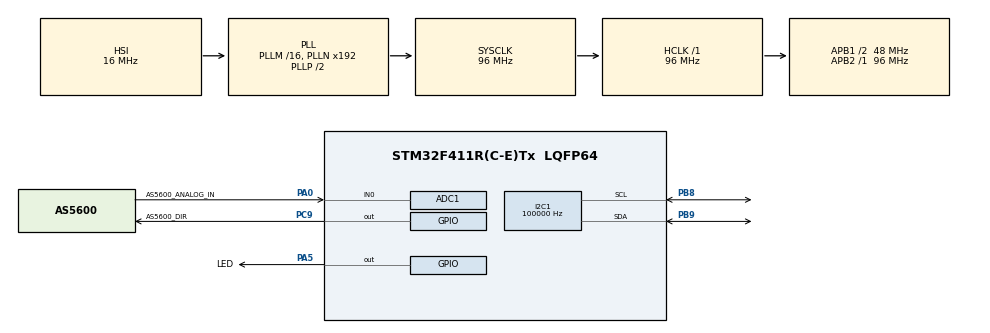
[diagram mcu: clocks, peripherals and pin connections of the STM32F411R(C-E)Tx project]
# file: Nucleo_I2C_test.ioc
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ADC1.Channel-0\#ChannelRegularConversion=ADC_CHANNEL_0
ADC1.ClockPrescaler=ADC_CLOCK_SYNC_PCLK_DIV4
ADC1.ContinuousConvMode=ENABLE
ADC1.DMAContinuousRequests=ENABLE
ADC1.NbrOfConversionFlag=1
ADC1.Rank-0\#ChannelRegularConversion=1
ADC1.SamplingTime-0\#ChannelRegularConversion=ADC_SAMPLETIME_3CYCLES
ADC1.master=1
Dma.ADC1.0.Direction=DMA_PERIPH_TO_MEMORY
Dma.ADC1.0.FIFOMode=DMA_FIFOMODE_ENABLE
Dma.ADC1.0.FIFOThreshold=DMA_FIFO_THRESHOLD_FULL
Dma.ADC1.0.Instance=DMA2_Stream0
Dma.ADC1.0.MemBurst=DMA_MBURST_SINGLE
Dma.ADC1.0.MemDataAlignment=DMA_MDATAALIGN_HALFWORD
Dma.ADC1.0.MemInc=DMA_MINC_ENABLE
Dma.ADC1.0.Mode=DMA_CIRCULAR
Dma.ADC1.0.PeriphBurst=DMA_PBURST_SINGLE
Dma.ADC1.0.PeriphDataAlignment=DMA_PDATAALIGN_HALFWORD
Dma.ADC1.0.PeriphInc=DMA_PINC_DISABLE
Dma.ADC1.0.Priority=DMA_PRIORITY_HIGH
Dma.Request0=ADC1
I2C1.ClockSpeed=100000
I2C1.I2C_Mode=I2C_Standard
I2C1.OwnAddress=0
Mcu.Family=STM32F4
Mcu.Name=STM32F411R(C-E)Tx
Mcu.Package=LQFP64
NVIC.ADC_IRQn=true\:0\:0\:false\:false\:true\:true\:true\:true
NVIC.DMA2_Stream0_IRQn=true\:0\:0\:false\:false\:true\:false\:true\:true
NVIC.I2C1_ER_IRQn=true\:0\:0\:false\:false\:true\:true\:true\:true
NVIC.I2C1_EV_IRQn=true\:0\:0\:false\:false\:true\:true\:true\:true
NVIC.PriorityGroup=NVIC_PRIORITYGROUP_4
PA0-WKUP.GPIO_Label=AS5600_ANALOG_IN
PA0-WKUP.Signal=ADCx_IN0
PA5.GPIO_Label=LED
PA5.Signal=GPIO_Output
PB8.Mode=I2C
PB8.Signal=I2C1_SCL
PB9.Mode=I2C
PB9.Signal=I2C1_SDA
PC9.GPIO_Label=AS5600_DIR
PC9.Signal=GPIO_Output
ProjectManager.HeapSize=0x200
ProjectManager.StackSize=0x400
ProjectManager.TargetToolchain=STM32CubeIDE
RCC.AHBFreq_Value=96000000
RCC.APB1CLKDivider=RCC_HCLK_DIV2
RCC.APB1Freq_Value=48000000
RCC.APB1TimFreq_Value=96000000
RCC.APB2Freq_Value=96000000
RCC.APB2TimFreq_Value=96000000
RCC.CortexFreq_Value=96000000
RCC.HCLKFreq_Value=96000000
RCC.HSE_VALUE=25000000
RCC.HSI_VALUE=16000000
RCC.LSE_VALUE=32768
RCC.SYSCLKFreq_VALUE=96000000
RCC.SYSCLKSource=RCC_SYSCLKSOURCE_PLLCLK
RCC.VCOOutputFreq_Value=192000000
SH.ADCx_IN0.0=ADC1_IN0,IN0
board=custom

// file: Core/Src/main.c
/* USER CODE BEGIN Header */
/**
  ******************************************************************************
  * @file           : main.c
  * @brief          : Main program body
  ******************************************************************************
  * @attention
  *
  * Copyright (c) 2022 STMicroelectronics.
  * All rights reserved.
  *
  * This software is licensed under terms that can be found in the LICENSE file
  * in the root directory of this software component.
  * If no LICENSE file comes with this software, it is provided AS-IS.
  *
  ******************************************************************************
  */
/* USER CODE END Header */
#include "main.h"

/* USER CODE BEGIN PD */
// the size of the array is determined by the time to fill in this case it is filled at 70KHz
#define AS5600_ADC_BUF_SIZE 19
// the delta_t_div_tau variable is a pre-computed value and describes a system where frequencies of +70KHz are filtered out
#define AS5600_EULER_DELTA_T_DIV_TAU 3
/* USER CODE END PD */

ADC_HandleTypeDef hadc1;
DMA_HandleTypeDef hdma_adc1;
I2C_HandleTypeDef hi2c1;

void SystemClock_Config(void);
static void MX_GPIO_Init(void);
static void MX_DMA_Init(void);
static void MX_I2C1_Init(void);
static void MX_ADC1_Init(void);
/* USER CODE BEGIN PFP */
uint16_t euler_integration(double* pos_integrator);	// uses [AS5600_analog_pos] and updates [pos]
/* USER CODE END PFP */

/* USER CODE BEGIN 0 */
uint16_t AS5600_analog_pos[AS5600_ADC_BUF_SIZE];
double AS5600_pos_integrator;
uint16_t AS5600_pos;
/* USER CODE END 0 */

int main(void)
{
  /* USER CODE BEGIN 1 */
	AS5600_TypeDef* sensor = AS5600_new();
	sensor->i2c_handle = &hi2c1;
	sensor->dir_port = AS5600_DIR_GPIO_Port;
	sensor->dir_pin = AS5600_DIR_Pin;
	sensor->positive_rotation_direction = AS5600_DIR_CCW;
  /* USER CODE END 1 */

  /* MCU Configuration--------------------------------------------------------*/

  /* Reset of all peripherals, Initializes the Flash interface and the Systick. */
  HAL_Init();

  /* Configure the system clock */
  SystemClock_Config();

  /* Initialize all configured peripherals */
  MX_GPIO_Init();
  MX_DMA_Init();
  MX_I2C1_Init();
  MX_ADC1_Init();
  /* USER CODE BEGIN 2 */
  while (AS5600_init(sensor) != HAL_OK) {
	  HAL_GPIO_TogglePin(LED_GPIO_Port, LED_Pin);
	  HAL_Delay(50);
  }

  // Get the real angle in the slow way so that the euler-integration can work with it
  AS5600_get_angle(sensor, &AS5600_pos);
  AS5600_pos_integrator = AS5600_pos;
  /* USER CODE END 2 */

  /* Infinite loop */

  /* USER CODE BEGIN WHILE */
	HAL_ADC_Start_DMA(&hadc1, (uint32_t*)AS5600_analog_pos, AS5600_ADC_BUF_SIZE);
	while (1)
	{
		AS5600_pos = euler_integration(&AS5600_pos_integrator);
    /* USER CODE END WHILE */

	}
}

void SystemClock_Config(void)
{
  RCC_OscInitTypeDef RCC_OscInitStruct = {0};
  RCC_ClkInitTypeDef RCC_ClkInitStruct = {0};

  /** Configure the main internal regulator output voltage
  */
  __HAL_RCC_PWR_CLK_ENABLE();
  __HAL_PWR_VOLTAGESCALING_CONFIG(PWR_REGULATOR_VOLTAGE_SCALE1);

  /** Initializes the RCC Oscillators according to the specified parameters
  * in the RCC_OscInitTypeDef structure.
  */
  RCC_OscInitStruct.OscillatorType = RCC_OSCILLATORTYPE_HSI;
  RCC_OscInitStruct.HSIState = RCC_HSI_ON;
  RCC_OscInitStruct.HSICalibrationValue = RCC_HSICALIBRATION_DEFAULT;
  RCC_OscInitStruct.PLL.PLLState = RCC_PLL_ON;
  RCC_OscInitStruct.PLL.PLLSource = RCC_PLLSOURCE_HSI;
  RCC_OscInitStruct.PLL.PLLM = 16;
  RCC_OscInitStruct.PLL.PLLN = 192;
  RCC_OscInitStruct.PLL.PLLP = RCC_PLLP_DIV2;
  RCC_OscInitStruct.PLL.PLLQ = 4;
  if (HAL_RCC_OscConfig(&RCC_OscInitStruct) != HAL_OK)
  {
    Error_Handler();
  }

  /** Initializes the CPU, AHB and APB buses clocks
  */
  RCC_ClkInitStruct.ClockType = RCC_CLOCKTYPE_HCLK|RCC_CLOCKTYPE_SYSCLK
                              |RCC_CLOCKTYPE_PCLK1|RCC_CLOCKTYPE_PCLK2;
  RCC_ClkInitStruct.SYSCLKSource = RCC_SYSCLKSOURCE_PLLCLK;
  RCC_ClkInitStruct.AHBCLKDivider = RCC_SYSCLK_DIV1;
  RCC_ClkInitStruct.APB1CLKDivider = RCC_HCLK_DIV2;
  RCC_ClkInitStruct.APB2CLKDivider = RCC_HCLK_DIV1;

  if (HAL_RCC_ClockConfig(&RCC_ClkInitStruct, FLASH_LATENCY_3) != HAL_OK)
  {
    Error_Handler();
  }
}

static void MX_ADC1_Init(void)
{

  ADC_ChannelConfTypeDef sConfig = {0};

  /** Configure the global features of the ADC (Clock, Resolution, Data Alignment and number of conversion)
  */
  hadc1.Instance = ADC1;
  hadc1.Init.ClockPrescaler = ADC_CLOCK_SYNC_PCLK_DIV6;
  hadc1.Init.Resolution = ADC_RESOLUTION_12B;
  hadc1.Init.ScanConvMode = DISABLE;
  hadc1.Init.ContinuousConvMode = ENABLE;
  hadc1.Init.DiscontinuousConvMode = DISABLE;
  hadc1.Init.ExternalTrigConvEdge = ADC_EXTERNALTRIGCONVEDGE_NONE;
  hadc1.Init.ExternalTrigConv = ADC_SOFTWARE_START;
  hadc1.Init.DataAlign = ADC_DATAALIGN_RIGHT;
  hadc1.Init.NbrOfConversion = 1;
  hadc1.Init.DMAContinuousRequests = ENABLE;
  hadc1.Init.EOCSelection = ADC_EOC_SINGLE_CONV;
  if (HAL_ADC_Init(&hadc1) != HAL_OK)
  {
    Error_Handler();
  }

  /** Configure for the selected ADC regular channel its corresponding rank in the sequencer and its sample time.
  */
  sConfig.Channel = ADC_CHANNEL_0;
  sConfig.Rank = 1;
  sConfig.SamplingTime = ADC_SAMPLETIME_3CYCLES;
  if (HAL_ADC_ConfigChannel(&hadc1, &sConfig) != HAL_OK)
  {
    Error_Handler();
  }

}

static void MX_I2C1_Init(void)
{

  hi2c1.Instance = I2C1;
  hi2c1.Init.ClockSpeed = 100000;
  hi2c1.Init.DutyCycle = I2C_DUTYCYCLE_2;
  hi2c1.Init.OwnAddress1 = 0;
  hi2c1.Init.AddressingMode = I2C_ADDRESSINGMODE_7BIT;
  hi2c1.Init.DualAddressMode = I2C_DUALADDRESS_DISABLE;
  hi2c1.Init.OwnAddress2 = 0;
  hi2c1.Init.GeneralCallMode = I2C_GENERALCALL_DISABLE;
  hi2c1.Init.NoStretchMode = I2C_NOSTRETCH_DISABLE;
  if (HAL_I2C_Init(&hi2c1) != HAL_OK)
  {
    Error_Handler();
  }

}

static void MX_DMA_Init(void)
{

  /* DMA controller clock enable */
  __HAL_RCC_DMA2_CLK_ENABLE();

  /* DMA interrupt init */
  /* DMA2_Stream0_IRQn interrupt configuration */
  HAL_NVIC_SetPriority(DMA2_Stream0_IRQn, 0, 0);
  HAL_NVIC_EnableIRQ(DMA2_Stream0_IRQn);

}

static void MX_GPIO_Init(void)
{
  GPIO_InitTypeDef GPIO_InitStruct = {0};

  /* GPIO Ports Clock Enable */
  __HAL_RCC_GPIOA_CLK_ENABLE();
  __HAL_RCC_GPIOC_CLK_ENABLE();
  __HAL_RCC_GPIOB_CLK_ENABLE();

  /*Configure GPIO pin Output Level */
  HAL_GPIO_WritePin(LED_GPIO_Port, LED_Pin, GPIO_PIN_RESET);

  /*Configure GPIO pin Output Level */
  HAL_GPIO_WritePin(AS5600_DIR_GPIO_Port, AS5600_DIR_Pin, GPIO_PIN_RESET);

  /*Configure GPIO pin : LED_Pin */
  GPIO_InitStruct.Pin = LED_Pin;
  GPIO_InitStruct.Mode = GPIO_MODE_OUTPUT_PP;
  GPIO_InitStruct.Pull = GPIO_NOPULL;
  GPIO_InitStruct.Speed = GPIO_SPEED_FREQ_LOW;
  HAL_GPIO_Init(LED_GPIO_Port, &GPIO_InitStruct);

  /*Configure GPIO pin : AS5600_DIR_Pin */
  GPIO_InitStruct.Pin = AS5600_DIR_Pin;
  GPIO_InitStruct.Mode = GPIO_MODE_OUTPUT_PP;
  GPIO_InitStruct.Pull = GPIO_NOPULL;
  GPIO_InitStruct.Speed = GPIO_SPEED_FREQ_LOW;
  HAL_GPIO_Init(AS5600_DIR_GPIO_Port, &GPIO_InitStruct);

}

/* USER CODE BEGIN 4 */
uint16_t euler_integration(double* pos_integrator) {
	for (uint32_t i = 0; i < AS5600_ADC_BUF_SIZE; i++) {
		(*pos_integrator) += (AS5600_analog_pos[i] - (*pos_integrator)) / AS5600_EULER_DELTA_T_DIV_TAU;
	}
	return round(*pos_integrator);
}
/* USER CODE END 4 */

void Error_Handler(void)
{
  __disable_irq();
  while (1)
  {
  }
}
